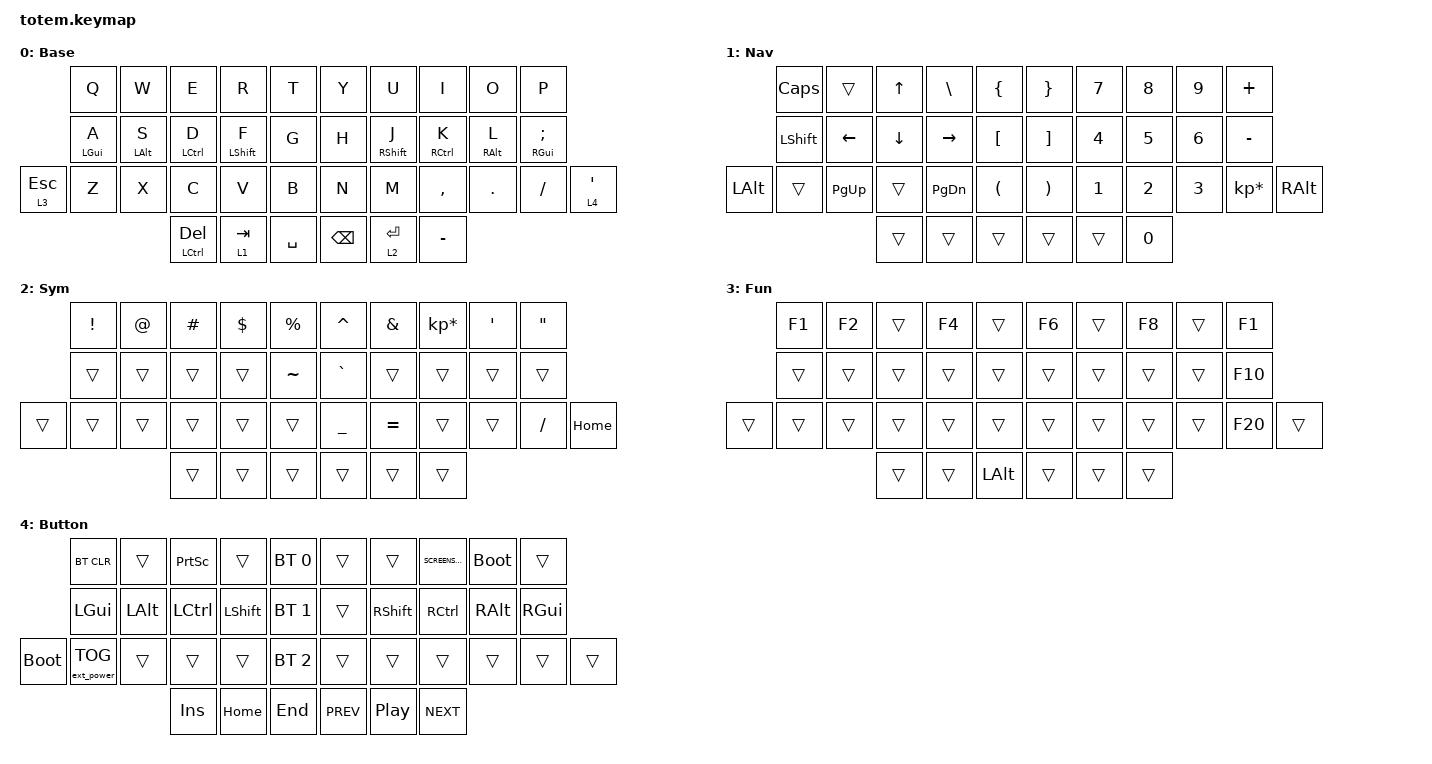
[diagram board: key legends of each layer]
//
//                                                        ▀▀▀▀▀     ▀▀▀▀▀          ▀▀█▀▀
//                                                        ▄▀▀▀▄  ▄  ▄▀▀▀▄  ▄  ▄▀▀▀▄  █  ▄▀▀▀▄
//                                                        █   █  █  █   █  █  █   █  █  █   █
//                                                         ▀▀▀   █   ▀▀▀   █   ▀▀▀   ▀   ▀▀▀
//                                                               █      ▄▄▄█▄▄▄    █   █  
//                                                               ▀      █  █  █     █▄█
//                                                             ▀▀▀▀▀    █  █  █      ▀
//                                                                      ▀  ▀  ▀
//
// ▄▄▄▄▄▄▄▄▄▄▄▄▄▄▄▄▄▄▄▄▄▄▄▄▄▄▄▄▄▄▄▄▄▄▄▄▄▄▄▄▄▄▄▄▄▄▄▄▄▄▄▄▄▄▄▄▄▄▄▄▄▄▄▄▄▄▄▄▄▄▄▄▄▄▄▄▄▄▄▄▄▄▄▄▄▄▄▄▄▄▄▄▄▄▄▄▄▄▄▄▄▄▄▄▄▄▄▄▄▄▄▄▄▄▄▄▄▄▄▄▄▄▄▄▄▄▄▄▄▄▄▄▄▄▄▄▄▄▄▄▄▄▄▄▄▄▄▄▄

#include <behaviors.dtsi>
#include <dt-bindings/zmk/bt.h>
#include <dt-bindings/zmk/ext_power.h>
#include <dt-bindings/zmk/keys.h>

#define Base        0
#define Media       1
#define Nav         2
#define Mouse       3
#define Sym         4
#define Num         5
#define Fun         6
#define Button      7
#define Game        8
#define Gameplus    9

&mt {
    quick-tap-ms = <100>;
    global-quick-tap;
    flavor = "tap-preferred";
    tapping-term-ms = <170>;
};

&lt {
    tapping-term-ms = <240>;
    flavor = "balanced";
    quick-tap-ms = <150>;
};

/ {
    behaviors {
        hm: homerow_mods {
            compatible = "zmk,behavior-hold-tap";
            label = "HOMEROW_MODS";
            #binding-cells = <2>;
            flavor = "tap-preferred";
            tapping-term-ms = <200>;
            quick-tap-ms = <125>;
            global-quick-tap;
            bindings = <&kp>, <&kp>;
        };
    };

    combos { compatible = "zmk,combos"; };

    keymap {
        compatible = "zmk,keymap";

        Base {
            label = "Base";
            bindings = <
              &kp Q       &kp W       &kp E          &kp R         &kp T        &kp Y          &kp U        &kp I        &kp O       &kp P
              &hm LGUI A  &hm LALT S  &hm LCTRL D    &hm LSHIFT F  &kp G        &kp H          &hm RSHFT J  &hm RCTRL K  &hm RALT L  &hm RGUI SEMICOLON
&lt 3 ESCAPE  &kp Z       &kp X       &kp C          &kp V         &kp B        &kp N          &kp M        &kp COMMA    &kp DOT     &kp SLASH           &lt 4 APOSTROPHE
                                      &mt LCTRL DEL  &lt 1 TAB     &kp SPACE    &kp BACKSPACE  &lt 2 ENTER  &kp MINUS
            >;
        };

        Nav {
            label = "Nav";
            bindings = <
              &kp CAPSLOCK    &trans       &kp UP_ARROW  &kp BACKSLASH  &kp LBRC    &kp RBRC  &kp NUMBER_7  &kp NUMBER_8  &kp NUMBER_9  &kp PLUS
              &kp LEFT_SHIFT  &kp LEFT     &kp DOWN      &kp RIGHT      &kp LBKT    &kp RBKT  &kp NUMBER_4  &kp NUMBER_5  &kp NUMBER_6  &kp MINUS
&kp LEFT_ALT  &trans          &kp PAGE_UP  &trans        &kp PG_DN      &kp LPAR    &kp RPAR  &kp NUMBER_1  &kp NUMBER_2  &kp NUMBER_3  &kp KP_MULTIPLY  &kp RIGHT_ALT
                                           &trans        &trans         &trans      &trans    &trans        &kp NUMBER_0
            >;
        };

        Sym {
            label = "Sym";
            bindings = <
        &kp EXCL  &kp AT  &kp HASH  &kp DOLLAR  &kp PERCENT    &kp CARET  &kp AMPERSAND  &kp KP_ASTERISK  &kp SQT  &kp DQT
        &trans    &trans  &trans    &trans      &kp TILDE      &kp GRAVE  &trans         &trans           &trans   &trans
&trans  &trans    &trans  &trans    &trans      &trans         &kp UNDER  &kp EQUAL      &trans           &trans   &kp SLASH  &kp HOME
                          &trans    &trans      &trans         &trans     &trans         &trans
            >;
        };

        Fun {
            label = "Fun";
            bindings = <
        &kp F1  &kp F2  &trans  &kp F4  &trans      &kp F6  &trans  &kp F8  &trans  &kp F1
        &trans  &trans  &trans  &trans  &trans      &trans  &trans  &trans  &trans  &kp F10
&trans  &trans  &trans  &trans  &trans  &trans      &trans  &trans  &trans  &trans  &kp F20  &trans
                        &trans  &trans  &kp LALT    &trans  &trans  &trans
            >;
        };

        Button {
            label = "Button";
            bindings = <
             &bt BT_CLR         &trans    &kp PRINTSCREEN  &trans      &bt BT_SEL 0    &trans      &trans            &kp K_SCREENSAVER  &bootloader  &trans
             &kp LGUI           &kp LALT  &kp LCTRL        &kp LSHIFT  &bt BT_SEL 1    &trans      &kp RSHIFT        &kp RCTRL          &kp RALT     &kp RGUI
&bootloader  &ext_power EP_TOG  &trans    &trans           &trans      &bt BT_SEL 2    &trans      &trans            &trans             &trans       &trans    &trans
                                          &kp INSERT       &kp HOME    &kp END         &kp C_PREV  &kp C_PLAY_PAUSE  &kp C_NEXT
            >;
        };
    };
};
